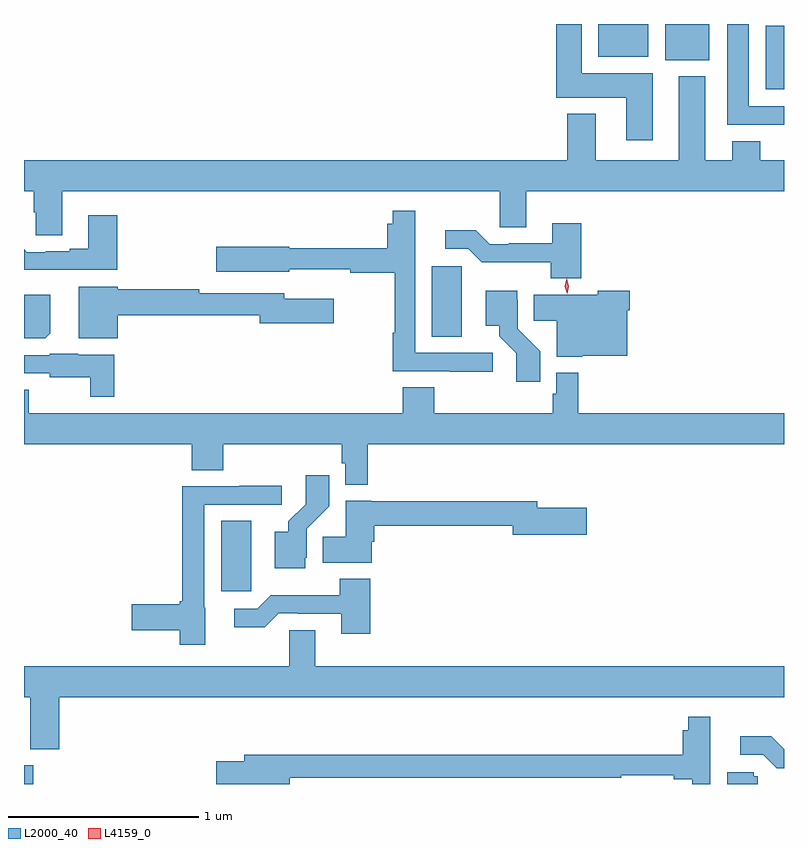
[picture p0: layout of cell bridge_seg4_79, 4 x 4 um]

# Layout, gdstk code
import gdstk
lib = gdstk.Library(unit=1e-6, precision=1e-09)
def R(c, l, rs):  # rectangles x0, y0, x1, y1
    for r in rs: c.add(gdstk.rectangle(r[:2], r[2:], *l))
def P(c, l, *ps):  # polygons
    for p in ps: c.add(gdstk.Polygon(p, *l))
L2000_40 = (2000, 40)
L4159_0 = (4159, 0)

bridge_seg4_79 = lib.new_cell('bridge_seg4_79')
R(bridge_seg4_79, L2000_40, [(456.921,817.676,456.97,817.774), (457.958,818.691,458.116,819.062), (459.068,820.03,459.226,820.401), (460.826,821.333,460.921,821.668), (460.295,821.486,460.528,821.676), (459.944,821.504,460.207,821.676)])
P(bridge_seg4_79, L2000_40, [(460.231,821.416),(459.856,821.416),(459.856,821.676),(459.722,821.676),(459.722,821.288),(460.091,821.288),(460.091,821.064),(460.231,821.064)],
  [(460.921,821.244),(460.735,821.244),(460.735,821.676),(460.622,821.676),(460.622,821.147),(460.921,821.147)],
  [(457.123,820.796),(459.426,820.796),(459.426,820.606),(459.565,820.606),(459.565,820.796),(460.921,820.796),(460.921,820.96),(460.797,820.96),(460.797,821.059),(460.649,821.059),(460.649,820.96),(460.507,820.96),(460.507,821.401),(460.367,821.401),(460.367,820.96),(459.931,820.96),(459.931,821.203),(459.779,821.203),(459.779,820.96),(456.921,820.96),(456.921,820.796),(456.971,820.796),(456.971,820.686),(456.984,820.686),(456.984,820.564),(457.123,820.564)],
  [(459.388,819.945),(458.979,819.945),(458.979,820.693),(458.863,820.693),(458.863,820.624),(458.834,820.624),(458.834,820.495),(458.316,820.495),(458.316,820.503),(457.932,820.503),(457.932,820.373),(458.316,820.373),(458.316,820.385),(458.638,820.385),(458.638,820.366),(458.871,820.366),(458.871,820.052),(458.863,820.052),(458.863,819.849),(459.163,819.849),(459.163,819.847),(459.388,819.847)],
  [(457.412,820.669),(457.259,820.669),(457.259,820.492),(457.163,820.492),(457.163,820.479),(457.036,820.479),(457.036,820.476),(456.936,820.476),(456.921,820.491),(456.921,820.382),(457.412,820.382)],
  [(459.854,820.627),(459.701,820.627),(459.701,820.521),(459.472,820.521),(459.472,820.518),(459.372,820.518),(459.299,820.591),(459.138,820.591),(459.138,820.494),(459.258,820.494),(459.331,820.422),(459.694,820.422),(459.694,820.337),(459.854,820.337)],
  [(457.414,820.144),(458.162,820.144),(458.162,820.102),(458.551,820.102),(458.551,820.231),(458.29,820.231),(458.29,820.26),(457.844,820.26),(457.844,820.28),(457.414,820.28),(457.414,820.294),(457.208,820.294),(457.208,820.022),(457.414,820.022)],
  [(459.638,819.954),(459.519,820.073),(459.519,820.224),(459.517,820.224),(459.517,820.273),(459.35,820.273),(459.35,820.088),(459.422,820.088),(459.422,820.033),(459.513,819.943),(459.513,819.792),(459.638,819.792)],
  [(459.858,819.929),(460.096,819.929),(460.096,820.169),(460.109,820.169),(460.109,820.273),(459.942,820.273),(459.942,820.252),(459.604,820.252),(459.604,820.114),(459.725,820.114),(459.725,819.926),(459.858,819.926)],
  [(457.06,820.048),(457.06,820.252),(456.921,820.252),(456.921,820.022),(457.034,820.022)],
  [(457.397,819.934),(457.206,819.934),(457.206,819.94),(457.056,819.94),(457.056,819.933),(456.921,819.933),(456.921,819.837),(457.056,819.837),(457.056,819.818),(457.269,819.818),(457.269,819.713),(457.397,819.713)],
  [(458.729,819.464),(460.921,819.464),(460.921,819.628),(459.839,819.628),(459.839,819.841),(459.723,819.841),(459.723,819.729),(459.703,819.729),(459.703,819.628),(459.08,819.628),(459.08,819.764),(458.915,819.764),(458.915,819.628),(456.945,819.628),(456.945,819.752),(456.921,819.752),(456.921,819.464),(457.805,819.464),(457.805,819.328),(457.97,819.328),(457.97,819.464),(458.593,819.464),(458.593,819.363),(458.613,819.363),(458.613,819.251),(458.729,819.251)],
  [(458.401,818.868),(458.409,818.868),(458.409,819.019),(458.528,819.138),(458.528,819.301),(458.403,819.301),(458.403,819.149),(458.312,819.059),(458.312,819.004),(458.24,819.004),(458.24,818.811),(458.401,818.811)],
  [(457.876,818.604),(457.869,818.604),(457.869,819.147),(458.278,819.147),(458.278,819.246),(458.053,819.246),(458.053,819.243),(457.753,819.243),(457.753,818.639),(457.74,818.639),(457.74,818.621),(457.488,818.621),(457.488,818.486),(457.74,818.486),(457.74,818.408),(457.876,818.408)],
  [(458.752,818.951),(458.765,818.951),(458.765,819.034),(459.494,819.034),(459.494,818.987),(459.883,818.987),(459.883,819.129),(459.622,819.129),(459.622,819.163),(458.748,819.163),(458.748,819.166),(458.615,819.166),(458.615,818.978),(458.494,818.978),(458.494,818.84),(458.752,818.84)],
  [(458.744,818.755),(458.584,818.755),(458.584,818.669),(458.219,818.669),(458.148,818.598),(458.028,818.598),(458.028,818.501),(458.189,818.501),(458.262,818.574),(458.362,818.574),(458.362,818.571),(458.591,818.571),(458.591,818.466),(458.744,818.466)],
  [(457.106,818.132),(460.921,818.132),(460.921,818.296),(458.455,818.296),(458.455,818.486),(458.316,818.486),(458.316,818.296),(456.921,818.296),(456.921,818.132),(456.953,818.132),(456.953,817.859),(457.106,817.859)],
  [(458.32,817.71),(460.064,817.71),(460.064,817.722),(460.34,817.722),(460.34,817.702),(460.437,817.702),(460.437,817.676),(460.533,817.676),(460.533,818.029),(460.417,818.029),(460.417,817.96),(460.388,817.96),(460.388,817.831),(458.081,817.831),(458.081,817.797),(457.932,817.797),(457.932,817.676),(458.32,817.676)],
  [(460.921,817.859),(460.853,817.927),(460.692,817.927),(460.692,817.83),(460.812,817.83),(460.883,817.76),(460.921,817.76)],
  [(460.783,817.716),(460.761,817.716),(460.761,817.737),(460.622,817.737),(460.622,817.676),(460.783,817.676)])
P(bridge_seg4_79, L4159_0, [(459.78,820.255),(459.779,820.256),(459.768,820.296),(459.777,820.338),(459.777,820.338),(459.777,820.338),(459.788,820.297),(459.78,820.256)])

lib.write_gds('bridge_seg4_79.gds')
